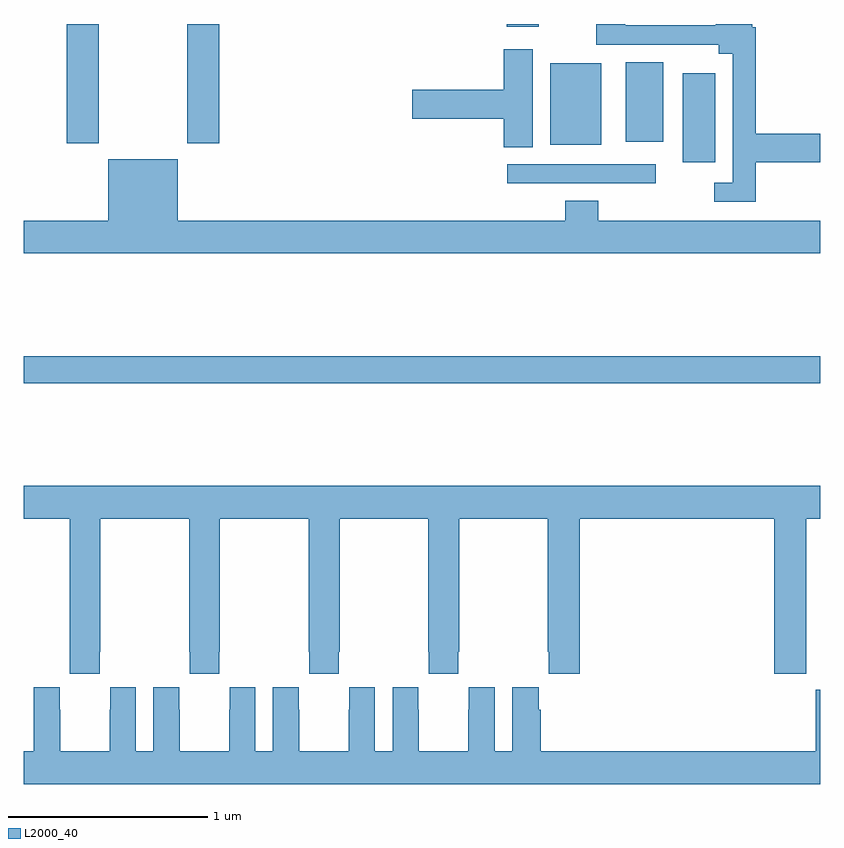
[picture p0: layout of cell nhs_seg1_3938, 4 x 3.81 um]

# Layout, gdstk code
import gdstk
lib = gdstk.Library(unit=1e-6, precision=1e-09)
def R(c, l, rs):  # rectangles x0, y0, x1, y1
    for r in rs: c.add(gdstk.rectangle(r[:2], r[2:], *l))
def P(c, l, *ps):  # polygons
    for p in ps: c.add(gdstk.Polygon(p, *l))
L2000_40 = (2000, 40)

nhs_seg1_3938 = lib.new_cell('nhs_seg1_3938')
R(nhs_seg1_3938, L2000_40, [(325,568.396,329,568.532), (327.429,569.4,328.174,569.496), (328.31,569.505,328.471,569.953), (327.644,569.594,327.901,570.001), (325.217,569.601,325.377,570.199), (325.822,569.601,325.982,570.199), (328.022,569.609,328.21,570.007), (327.425,570.186,327.585,570.199)])
P(nhs_seg1_3938, L2000_40, [(328.676,569.506),(329,569.506),(329,569.648),(328.676,569.648),(328.676,570.182),(328.657,570.182),(328.657,570.199),(328.475,570.199),(328.475,570.192),(328.021,570.192),(328.021,570.199),(327.874,570.199),(327.874,570.096),(328.49,570.096),(328.49,570.05),(328.56,570.05),(328.56,569.403),(328.467,569.403),(328.467,569.307),(328.676,569.307)],
  [(327.556,570.073),(327.41,570.073),(327.41,569.87),(326.952,569.87),(326.952,569.723),(327.41,569.723),(327.41,569.581),(327.556,569.581)],
  [(329,569.212),(327.884,569.212),(327.884,569.311),(327.719,569.311),(327.719,569.212),(325.774,569.212),(325.774,569.521),(325.424,569.521),(325.424,569.212),(325,569.212),(325,569.048),(329,569.048)],
  [(325.383,567.049),(325.386,567.049),(325.386,567.716),(325.831,567.716),(325.831,567.049),(325.833,567.049),(325.833,566.937),(325.983,566.937),(325.983,567.049),(325.986,567.049),(325.986,567.716),(326.431,567.716),(326.431,567.049),(326.433,567.049),(326.433,566.937),(326.583,566.937),(326.583,567.049),(326.586,567.049),(326.586,567.716),(327.031,567.716),(327.031,567.049),(327.033,567.049),(327.033,566.937),(327.183,566.937),(327.183,567.049),(327.186,567.049),(327.186,567.716),(327.631,567.716),(327.631,567.049),(327.637,567.049),(327.637,566.937),(327.791,566.937),(327.791,567.716),(328.769,567.716),(328.769,566.937),(328.929,566.937),(328.929,567.716),(329,567.716),(329,567.88),(325,567.88),(325,567.716),(325.231,567.716),(325.231,567.049),(325.233,567.049),(325.233,566.937),(325.383,566.937)],
  [(329,566.857),(328.976,566.857),(328.976,566.548),(327.596,566.548),(327.596,566.756),(327.586,566.756),(327.586,566.869),(327.452,566.869),(327.452,566.548),(327.364,566.548),(327.364,566.869),(327.234,566.869),(327.234,566.756),(327.233,566.756),(327.233,566.548),(326.983,566.548),(326.983,566.756),(326.982,566.756),(326.982,566.869),(326.852,566.869),(326.852,566.548),(326.764,566.548),(326.764,566.869),(326.634,566.869),(326.634,566.756),(326.633,566.756),(326.633,566.548),(326.383,566.548),(326.383,566.756),(326.382,566.756),(326.382,566.869),(326.252,566.869),(326.252,566.548),(326.164,566.548),(326.164,566.869),(326.034,566.869),(326.034,566.756),(326.033,566.756),(326.033,566.548),(325.783,566.548),(325.783,566.756),(325.782,566.756),(325.782,566.869),(325.652,566.869),(325.652,566.548),(325.564,566.548),(325.564,566.869),(325.434,566.869),(325.434,566.756),(325.433,566.756),(325.433,566.548),(325.183,566.548),(325.183,566.756),(325.182,566.756),(325.182,566.869),(325.052,566.869),(325.052,566.548),(325,566.548),(325,566.384),(329,566.384)])

lib.write_gds('nhs_seg1_3938.gds')
